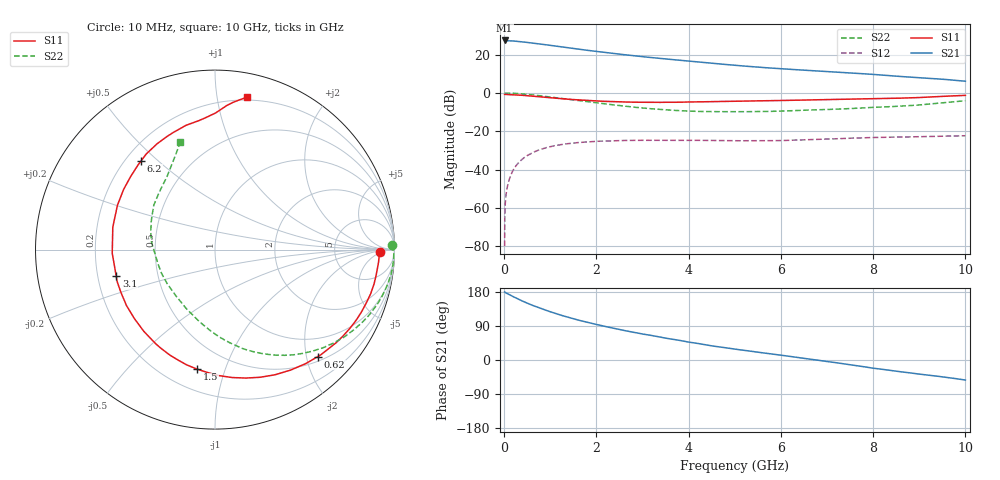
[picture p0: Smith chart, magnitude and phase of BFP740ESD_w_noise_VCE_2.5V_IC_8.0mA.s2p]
! Infineon Technologies  Discrete & RF Semiconductors
! BFP740ESD
! VCE =  2.5 V,  IC =  8.0 mA
! Common Emitter S-Parameters:  Jan 2016
# GHz  S  MA  R  50
!  f  S11  S21  S12  S22
! GHz  MAG  ANG  MAG  ANG  MAG  ANG  MAG  ANG
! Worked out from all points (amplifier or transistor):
!   233 points, 10 MHz to 10 GHz, reference 50 ohm
!   highest |S21| = 27.4 dB at 10 MHz (marker M1)
!   |S21| within 3 dB of that: start of sweep to 1.138 GHz
!   unconditionally stable (mu >= 1): start of sweep to 10.67 MHz; 5.349 GHz to 9.18 GHz
!   at 200 MHz: K = 0.06, MSG = 33.6 dB, |S12| = -40.1 dB
!   at 1.74 GHz: K = 0.35, MSG = 24.1 dB, |S12| = -25.6 dB
!   at 10 GHz: K = 0.72, MSG = 14.2 dB, |S12| = -22.3 dB
!   lowest NFmin = 0.57 dB at 450 MHz
!   S11 on the Smith chart (normalised r, x): 10 MHz: 23, -4; 620 MHz: 0.59, -2.22; 1.5 GHz: 0.33, -0.80; 3.1 GHz: 0.28, -0.12; 6.2 GHz: 0.26, +0.44; 10 GHz: 0.18, +1.21
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0.01  0.9184 -0.8  23.54 179.7  0.0001 10.5  0.9887 1.4
0.02  0.9161 -1.6  23.15 178.6  0.0011 83.7  0.9965 -1.0
0.05  0.9145 -4.0  23.14 176.4  0.0027 91.3  0.9971 -2.6
0.15  0.9074 -11.8  23.03 170.1  0.0074 82.9  0.9899 -8.0
0.26  0.8922 -20.2  22.43 163.1  0.0127 77.8  0.9732 -13.7
0.44  0.8618 -33.5  21.32 153.2  0.0208 70.0  0.9357 -22.4
0.62  0.8266 -46.1  20.09 144.0  0.0278 62.7  0.8895 -30.6
0.8  0.7924 -57.9  18.86 135.8  0.034 56.2  0.8412 -38.2
1  0.7542 -70.6  17.55 127.3  0.0398 49.6  0.7856 -46.0
1.2  0.719 -82.4  16.3 119.4  0.0444 43.7  0.7315 -53.3
1.5  0.6733 -98.6  14.56 108.9  0.0495 36.1  0.6563 -62.9
1.68  0.6509 -107.6  13.63 103.0  0.0517 32.1  0.6165 -68.2
1.94  0.6249 -119.7  12.42 95.4  0.0542 27.2  0.565 -75.3
2.4  0.5912 -139.3  10.67 83.0  0.057 19.9  0.4847 -87.6
3.1  0.5698 -165.0  8.635 66.7  0.0582 11.9  0.396 -105.7
3.4  0.5694 -174.8  7.954 60.1  0.0583 9.4  0.371 -113.6
4  0.583 167.6  6.833 47.3  0.0583 5.3  0.3372 -130.2
5.1  0.6114 145.0  5.17 27.1  0.0566 1.3  0.3254 -157.8
6.2  0.6436 129.7  4.151 9.5  0.0581 1.5  0.3433 179.0
6.8  0.6644 121.6  3.754 -0.5  0.0612 1.1  0.3639 168.2
8.4  0.724 97.2  2.807 -27.9  0.07 -6.0  0.4413 135.6
10  0.8667 78.3  2.028 -52.9  0.0765 -13.9  0.6284 107.9
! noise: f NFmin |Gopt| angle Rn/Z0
0.45  0.57  0.28  4  0.13
0.9  0.6  0.28  15  0.1
1.9  0.62  0.25  24  0.09
2.4  0.67  0.19  44  0.12
5.5  0.89  0.23  -151  0.13
10  1.72  0.58  -92  0.5
